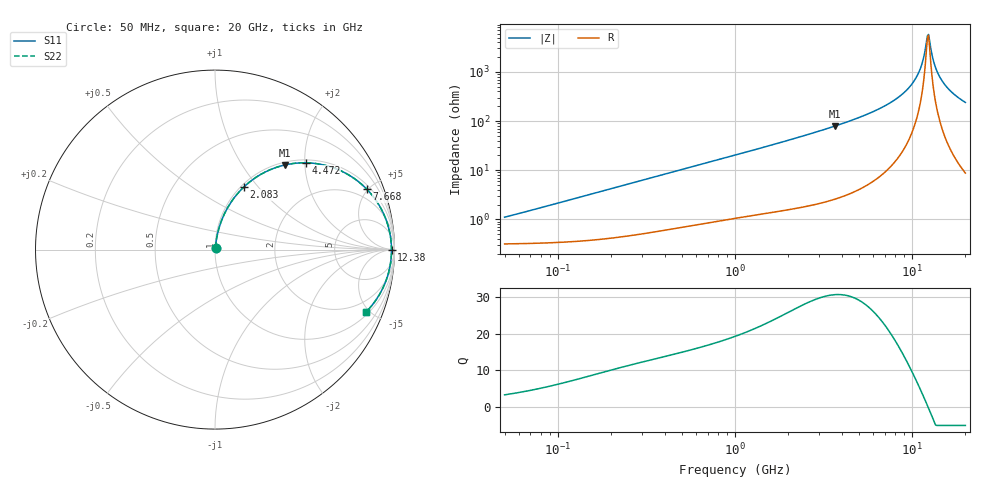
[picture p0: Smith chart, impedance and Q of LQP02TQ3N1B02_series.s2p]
!Murata Part Number: LQP02TQ3N1B02
!These Parameters are Measured in Series Mode Connection
!  o--[Z]--o
!Port1  Port2
!  o-------o
!Freq. Start=50[MHz] Stop=20[GHz], 401[Steps]
# Hz S RI R 50
!Freq.(Hz) S11(Real) S11(Imag) S21(Real) S21(Imag) S12(Real) S12(Imag) S22(Real) S22(Imag)
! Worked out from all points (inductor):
!   401 points, 50 MHz to 20 GHz, reference 50 ohm
!   read as one part in series: L = 3.38 nH near 51.52 MHz
!   highest Q = 30.7 at 3.681 GHz (marker M1), where L = 3.44 nH
!   self-resonance near 12.2 GHz
!   S11 on the Smith chart (normalised r, x): 50 MHz: 1.01, +0.02; 2.083 GHz: 1.03, +0.85; 4.472 GHz: 1.07, +2.02; 7.668 GHz: 1.25, +4.90; 12.38 GHz: open; 20 GHz: 1.17, -4.79
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5e7  0.00327 0.0106  0.9967 -0.0106  0.9967 -0.0106  0.00327 0.0106
1.364002e8  0.00445 0.0286  0.9956 -0.0286  0.9956 -0.0286  0.00445 0.0286
3.721004e8  0.0115 0.0758  0.9885 -0.0758  0.9885 -0.0758  0.0115 0.0758
1e9  0.0486 0.1906  0.9514 -0.1906  0.9514 -0.1906  0.0486 0.1906
2.083303e9  0.162 0.3499  0.838 -0.3499  0.838 -0.3499  0.162 0.3499
2.728004e9  0.2499 0.4161  0.7501 -0.4161  0.7501 -0.4161  0.2499 0.4161
3.680849e9  0.3908 0.4719  0.6092 -0.4719  0.6092 -0.4719  0.3908 0.4719
4.472136e9  0.5058 0.4837  0.4942 -0.4837  0.4942 -0.4837  0.5058 0.4837
5.769027e9  0.6718 0.4514  0.3282 -0.4514  0.3282 -0.4514  0.6718 0.4514
7.442007e9  0.829 0.353  0.171 -0.353  0.171 -0.353  0.829 0.353
7.668323e9  0.8453 0.3371  0.1547 -0.3371  0.1547 -0.3371  0.8453 0.3371
9.178299e9  0.927 0.2248  0.073 -0.2248  0.073 -0.2248  0.927 0.2248
1.034674e10  0.9629 0.1373  0.0371 -0.1373  0.0371 -0.1373  0.9629 0.1373
1.115139e10  0.9765 0.0792  0.0235 -0.0792  0.0235 -0.0792  0.9765 0.0792
1.149051e10  0.98 0.0555  0.02 -0.0555  0.02 -0.0555  0.98 0.0555
1.201863e10  0.983 0.0197  0.017 -0.0197  0.017 -0.0197  0.983 0.0197
1.238412e10  0.9835 -0.00425  0.0165 0.00425  0.0165 0.00425  0.9835 -0.00425
1.257102e10  0.9833 -0.0162  0.0167 0.0162  0.0167 0.0162  0.9833 -0.0162
1.354865e10  0.978 -0.0759  0.022 0.0759  0.022 0.0759  0.978 -0.0759
1.460232e10  0.9655 -0.1344  0.0345 0.1344  0.0345 0.1344  0.9655 -0.1344
1.670968e10  0.9256 -0.2336  0.0744 0.2336  0.0744 0.2336  0.9256 -0.2336
2e10  0.8427 -0.3463  0.1573 0.3463  0.1573 0.3463  0.8427 -0.3463
